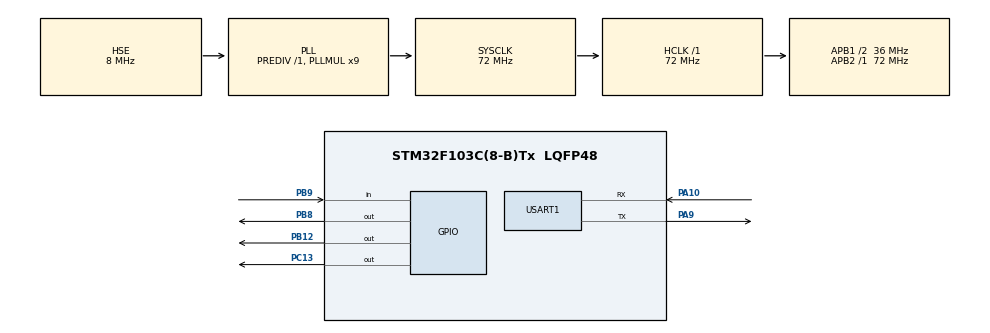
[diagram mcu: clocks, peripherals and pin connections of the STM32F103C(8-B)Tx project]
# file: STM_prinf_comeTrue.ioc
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Mcu.Family=STM32F1
Mcu.Name=STM32F103C(8-B)Tx
Mcu.Package=LQFP48
NVIC.PriorityGroup=NVIC_PRIORITYGROUP_4
PA10.Mode=Asynchronous
PA10.Signal=USART1_RX
PA13.Mode=Serial_Wire
PA13.Signal=SYS_JTMS-SWDIO
PA14.Mode=Serial_Wire
PA14.Signal=SYS_JTCK-SWCLK
PA9.Mode=Asynchronous
PA9.Signal=USART1_TX
PB12.Signal=GPIO_Output
PB8.Signal=GPIO_Output
PB9.Signal=GPIO_Input
PC13-TAMPER-RTC.Signal=GPIO_Output
PD0-OSC_IN.Mode=HSE-External-Oscillator
PD0-OSC_IN.Signal=RCC_OSC_IN
PD1-OSC_OUT.Mode=HSE-External-Oscillator
PD1-OSC_OUT.Signal=RCC_OSC_OUT
ProjectManager.HeapSize=0x200
ProjectManager.StackSize=0x400
ProjectManager.TargetToolchain=MDK-ARM V5.32
RCC.AHBFreq_Value=72000000
RCC.APB1CLKDivider=RCC_HCLK_DIV2
RCC.APB1Freq_Value=36000000
RCC.APB1TimFreq_Value=72000000
RCC.APB2Freq_Value=72000000
RCC.APB2TimFreq_Value=72000000
RCC.HCLKFreq_Value=72000000
RCC.PLLMUL=RCC_PLL_MUL9
RCC.PLLSourceVirtual=RCC_PLLSOURCE_HSE
RCC.SYSCLKFreq_VALUE=72000000
RCC.SYSCLKSource=RCC_SYSCLKSOURCE_PLLCLK
RCC.USBFreq_Value=72000000
USART1.VirtualMode=VM_ASYNC
board=custom

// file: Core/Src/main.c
/* USER CODE BEGIN Header */
/**
  ******************************************************************************
  * @file           : main.c
  * @brief          : Main program body
  ******************************************************************************
  * @attention
  *
  * Copyright (c) 2022 STMicroelectronics.
  * All rights reserved.
  *
  * This software is licensed under terms that can be found in the LICENSE file
  * in the root directory of this software component.
  * If no LICENSE file comes with this software, it is provided AS-IS.
  *
  ******************************************************************************
  */
/* USER CODE END Header */
#include "main.h"
#include "usart.h"
#include "gpio.h"

/* USER CODE BEGIN Includes */
#include "stdio.h"

/* USER CODE END Includes */

void SystemClock_Config(void);

int main(void)
{

  /* MCU Configuration--------------------------------------------------------*/

  /* Reset of all peripherals, Initializes the Flash interface and the Systick. */
  HAL_Init();

  /* Configure the system clock */
  SystemClock_Config();

  /* Initialize all configured peripherals */
  MX_GPIO_Init();
  MX_USART1_UART_Init();
  /* USER CODE BEGIN 2 */
HAL_GPIO_WritePin(GPIOB, GPIO_PIN_9, GPIO_PIN_SET);
HAL_GPIO_WritePin(GPIOB, GPIO_PIN_8, GPIO_PIN_SET);
printf("ok\r\n");
  /* USER CODE END 2 */

  /* Infinite loop */
  while (1)
  {

    /* USER CODE BEGIN 3 */
//		printf("STM32\r\n");

		if (HAL_GPIO_ReadPin(GPIOB, GPIO_PIN_9) == GPIO_PIN_SET)
		{
			printf("9 SET\r\n");
		}
		else if (HAL_GPIO_ReadPin(GPIOB, GPIO_PIN_9) == GPIO_PIN_RESET)
		{
			printf("9 RE\r\n");
		}

		if (HAL_GPIO_ReadPin(GPIOB, GPIO_PIN_8) == GPIO_PIN_RESET)
		{
			printf("8 RE\r\n");
		}
		else if (HAL_GPIO_ReadPin(GPIOB, GPIO_PIN_8) == GPIO_PIN_SET)
		{
			printf("8 SET\r\n");
		}
  }
  /* USER CODE END 3 */
}

void SystemClock_Config(void)
{
  RCC_OscInitTypeDef RCC_OscInitStruct = {0};
  RCC_ClkInitTypeDef RCC_ClkInitStruct = {0};

  /** Initializes the RCC Oscillators according to the specified parameters
  * in the RCC_OscInitTypeDef structure.
  */
  RCC_OscInitStruct.OscillatorType = RCC_OSCILLATORTYPE_HSE;
  RCC_OscInitStruct.HSEState = RCC_HSE_ON;
  RCC_OscInitStruct.HSEPredivValue = RCC_HSE_PREDIV_DIV1;
  RCC_OscInitStruct.HSIState = RCC_HSI_ON;
  RCC_OscInitStruct.PLL.PLLState = RCC_PLL_ON;
  RCC_OscInitStruct.PLL.PLLSource = RCC_PLLSOURCE_HSE;
  RCC_OscInitStruct.PLL.PLLMUL = RCC_PLL_MUL9;
  if (HAL_RCC_OscConfig(&RCC_OscInitStruct) != HAL_OK)
  {
    Error_Handler();
  }
  /** Initializes the CPU, AHB and APB buses clocks
  */
  RCC_ClkInitStruct.ClockType = RCC_CLOCKTYPE_HCLK|RCC_CLOCKTYPE_SYSCLK
                              |RCC_CLOCKTYPE_PCLK1|RCC_CLOCKTYPE_PCLK2;
  RCC_ClkInitStruct.SYSCLKSource = RCC_SYSCLKSOURCE_PLLCLK;
  RCC_ClkInitStruct.AHBCLKDivider = RCC_SYSCLK_DIV1;
  RCC_ClkInitStruct.APB1CLKDivider = RCC_HCLK_DIV2;
  RCC_ClkInitStruct.APB2CLKDivider = RCC_HCLK_DIV1;

  if (HAL_RCC_ClockConfig(&RCC_ClkInitStruct, FLASH_LATENCY_2) != HAL_OK)
  {
    Error_Handler();
  }
}

/* USER CODE BEGIN 4 */
int fputc(int ch, FILE *f)
{
    uint8_t temp[1] = {ch};
    HAL_UART_Transmit(&huart1 , temp ,1, 2);

    return ch;
}
/* USER CODE END 4 */

void Error_Handler(void)
{
  __disable_irq();
  while (1)
  {
  }
}
